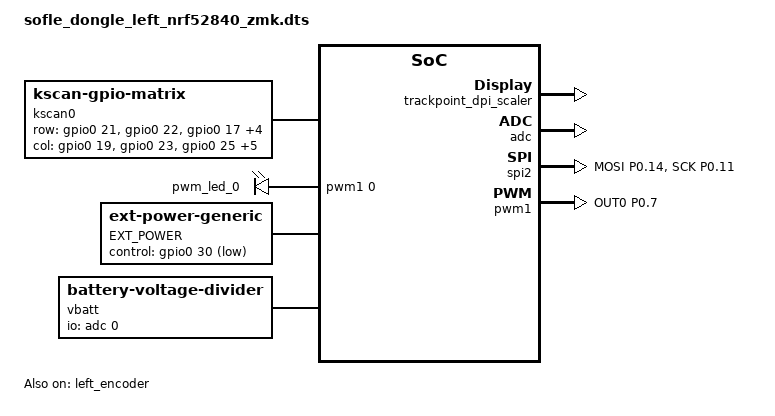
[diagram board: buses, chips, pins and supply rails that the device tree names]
/*
*
* Copyright (c) 2025 ZitaoTech
* SPDX-License-Identifier: MIT
*
*/

#include <dt-bindings/zmk/behaviors.h>
#include "sofle_dongle.dtsi"
#include <zephyr/dt-bindings/input/input-event-codes.h>

#define MOUSE_LAYER_ID 3

/ {
    input_processors {
        trackpoint_dpi_scaler: trackpoint_dpi_scaler {
            compatible = "zmk,input-processor-trackpoint-dpi";
            #input-processor-cells = <0>;
            track-remainders;
        };
    };
};


/ {
    chosen {
        zmk,battery = &vbatt;
    };
    kscan0: kscan {
        compatible = "zmk,kscan-gpio-matrix";
        diode-direction = "col2row";
        wakeup-source;
        row-gpios
            = <&gpio0 21 (GPIO_ACTIVE_HIGH | GPIO_PULL_DOWN)>
            , <&gpio0 22  (GPIO_ACTIVE_HIGH | GPIO_PULL_DOWN)>
            , <&gpio0 17 (GPIO_ACTIVE_HIGH | GPIO_PULL_DOWN)>
            , <&gpio0 15  (GPIO_ACTIVE_HIGH | GPIO_PULL_DOWN)>
            , <&gpio0 13  (GPIO_ACTIVE_HIGH | GPIO_PULL_DOWN)>
            , <&gpio0 4  (GPIO_ACTIVE_HIGH | GPIO_PULL_DOWN)>
            , <&gpio0 26  (GPIO_ACTIVE_HIGH | GPIO_PULL_DOWN)>
            ;
        col-gpios
            = <&gpio0 19  GPIO_ACTIVE_HIGH>
            , <&gpio0 23  GPIO_ACTIVE_HIGH>
            , <&gpio0 25  GPIO_ACTIVE_HIGH>
            , <&gpio1 0 GPIO_ACTIVE_HIGH>
            , <&gpio0 24 GPIO_ACTIVE_HIGH>
            , <&gpio0 20 GPIO_ACTIVE_HIGH>
            , <&gpio0 8 GPIO_ACTIVE_HIGH>
            , <&gpio0 6 GPIO_ACTIVE_HIGH>
            ;
    };


    trackball_led: pwmledo{
        compatible = "pwm-leds";
        pwm_led_0 {
            pwms = <&pwm1 0 PWM_USEC(20) PWM_POLARITY_NORMAL>;
        };
    };

    EXT_POWER {
        compatible = "zmk,ext-power-generic";
        control-gpios = <&gpio0 30 GPIO_ACTIVE_LOW>;
    };
    vbatt: vbatt {
        compatible = "zmk,battery-voltage-divider";
        io-channels = <&adc 0>;
        output-ohms = <2000000>;
        full-ohms = <2820000>;  // 2000000 + 820000
    };
};


&adc {
    status = "okay";
};

&gpiote {
    status = "okay";
};

&gpio0 {
    status = "okay";
};

&gpio1 {
    status = "okay";
};

&spi2 {
    status = "okay";
};

&pwm1 {
    status = "okay";
    pinctrl-0 = <&pwm1_default>;
    pinctrl-1 = <&pwm1_sleep>;
    pinctrl-names = "default", "sleep";
};

&left_encoder {
    status = "okay";
};


/ {
    split_inputs {
        #address-cells = <1>;
        #size-cells = <0>;

        trackpoint_split: trackpoint_split@0 {
            compatible = "zmk,input-split";
            reg = <0>;
        };
    };

};

/ {
    split_inputs {
        #address-cells = <1>;
        #size-cells = <0>;

        bbtrackpad_split: bbtrackpad_split@0 {
            compatible = "zmk,input-split";
            reg = <0>;
        };
    };

};

/ {
    split_inputs {
        #address-cells = <1>;
        #size-cells = <0>;

        bbtrackball_split: bbtrackball_split@0 {
            compatible = "zmk,input-split";
            reg = <0>;
        };
    };

};

/ {
    trackpoint_listener: trackpoint_listener {
        compatible = "zmk,input-listener";
        status = "disabled";
        device = <&trackpoint_split>;
    };
    bbtrackpad_listener: bbtrackpad_listener {
        compatible = "zmk,input-listener";
        status = "disabled";
        device = <&bbtrackpad_split>;
    };
    bbtrackball_listener: bbtrackball_listener {
        compatible = "zmk,input-listener";
        status = "disabled";
        device = <&bbtrackball_split>;
    };
};

&trackpoint_listener {
    status = "okay";
    input-processors =
        <&zip_temp_layer 3 600>,
        <&trackpoint_dpi_scaler>,
        <&ip_behaviors0>,
        <&ip_behaviors1>,
        <&ip_behaviors2>,
        <&ip_behaviors3>;
};

&bbtrackpad_listener {
    status = "okay";
};

&bbtrackball_listener {
    status = "okay";
};

lpm_view_spi: &spi2 {
    compatible = "nordic,nrf-spim";
    pinctrl-0 = <&spi2_default>;
    pinctrl-1 = <&spi2_sleep>;
    pinctrl-names = "default", "sleep";
    cs-gpios = <&gpio1 8 (GPIO_ACTIVE_HIGH | GPIO_PULL_DOWN) >;
};

&pinctrl {
    pwm1_default:pwm1_default{
        group1{
            psels = <NRF_PSEL(PWM_OUT0, 0, 7)>; // Backlight for Trackball
        };
    };

    pwm1_sleep: pwm1_sleep {
        group1 {
            psels = <NRF_PSEL(PWM_OUT0, 0, 7)>;
            bias-pull-down;
        };
    };


    spi2_default: spi2_default {
        group1 {
            psels = <NRF_PSEL(SPIM_MOSI, 0, 14)>,
            <NRF_PSEL(SPIM_SCK, 0, 11)>;
        };
    };
    spi2_sleep: spi2_sleep {
        group1 {
            psels = <NRF_PSEL(SPIM_MOSI, 0, 14)>,
            <NRF_PSEL(SPIM_SCK, 0, 11)>;
            low-power-enable;
        };
    };
};

&default_transform { col-offset = <0>; };

&bbtrackpad_split { reg = <1>; device = <&bbtrackpad>; };
&bbtrackpad_listener { status = "disabled"; /delete-property/ input-processors; };
&trackpoint_listener { status = "disabled"; /delete-property/ input-processors; };
&bbtrackball_listener { status = "disabled"; };
